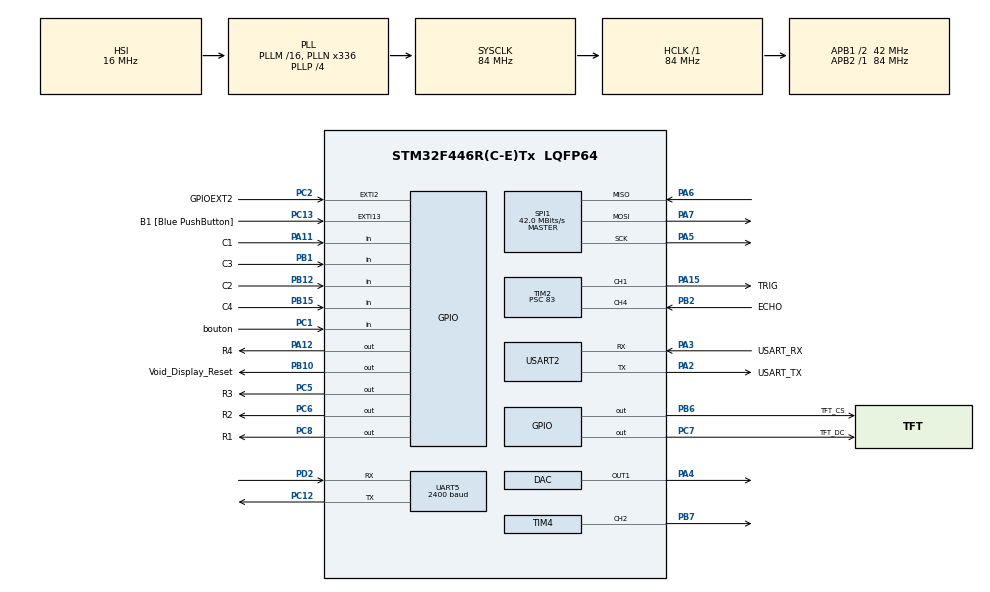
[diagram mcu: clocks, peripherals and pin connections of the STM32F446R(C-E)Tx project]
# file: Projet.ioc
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DAC.DAC_Trigger=DAC_TRIGGER_T5_TRGO
Dma.DAC1.2.Direction=DMA_MEMORY_TO_PERIPH
Dma.DAC1.2.FIFOMode=DMA_FIFOMODE_DISABLE
Dma.DAC1.2.Instance=DMA1_Stream5
Dma.DAC1.2.MemDataAlignment=DMA_MDATAALIGN_WORD
Dma.DAC1.2.MemInc=DMA_MINC_ENABLE
Dma.DAC1.2.Mode=DMA_NORMAL
Dma.DAC1.2.PeriphDataAlignment=DMA_PDATAALIGN_WORD
Dma.DAC1.2.PeriphInc=DMA_PINC_DISABLE
Dma.DAC1.2.Priority=DMA_PRIORITY_LOW
Dma.Request0=SPI1_TX
Dma.Request1=UART5_TX
Dma.Request2=DAC1
Dma.SPI1_TX.0.Direction=DMA_MEMORY_TO_PERIPH
Dma.SPI1_TX.0.FIFOMode=DMA_FIFOMODE_DISABLE
Dma.SPI1_TX.0.Instance=DMA2_Stream3
Dma.SPI1_TX.0.MemDataAlignment=DMA_MDATAALIGN_BYTE
Dma.SPI1_TX.0.MemInc=DMA_MINC_ENABLE
Dma.SPI1_TX.0.Mode=DMA_NORMAL
Dma.SPI1_TX.0.PeriphDataAlignment=DMA_PDATAALIGN_BYTE
Dma.SPI1_TX.0.PeriphInc=DMA_PINC_DISABLE
Dma.SPI1_TX.0.Priority=DMA_PRIORITY_LOW
Dma.UART5_TX.1.Direction=DMA_MEMORY_TO_PERIPH
Dma.UART5_TX.1.FIFOMode=DMA_FIFOMODE_DISABLE
Dma.UART5_TX.1.Instance=DMA1_Stream7
Dma.UART5_TX.1.MemDataAlignment=DMA_MDATAALIGN_BYTE
Dma.UART5_TX.1.MemInc=DMA_MINC_ENABLE
Dma.UART5_TX.1.Mode=DMA_NORMAL
Dma.UART5_TX.1.PeriphDataAlignment=DMA_PDATAALIGN_BYTE
Dma.UART5_TX.1.PeriphInc=DMA_PINC_DISABLE
Dma.UART5_TX.1.Priority=DMA_PRIORITY_LOW
Mcu.Family=STM32F4
Mcu.Name=STM32F446R(C-E)Tx
Mcu.Package=LQFP64
NVIC.DMA1_Stream5_IRQn=true\:0\:0\:false\:false\:true\:false\:true\:true
NVIC.DMA1_Stream7_IRQn=true\:0\:0\:false\:false\:true\:false\:true\:true
NVIC.DMA2_Stream3_IRQn=true\:0\:0\:false\:false\:true\:false\:true\:true
NVIC.EXTI2_IRQn=true\:0\:0\:false\:false\:true\:true\:true\:true
NVIC.PriorityGroup=NVIC_PRIORITYGROUP_0
NVIC.SPI1_IRQn=true\:0\:0\:false\:false\:true\:true\:true\:true
NVIC.TIM2_IRQn=true\:0\:0\:false\:false\:true\:true\:true\:true
NVIC.UART5_IRQn=true\:0\:0\:false\:false\:true\:true\:true\:true
PA11.GPIO_Label=C1
PA11.GPIO_PuPd=GPIO_PULLUP
PA11.Signal=GPIO_Input
PA12.GPIO_Label=R4
PA12.GPIO_ModeDefaultOutputPP=GPIO_MODE_OUTPUT_OD
PA12.GPIO_PuPd=GPIO_NOPULL
PA12.Signal=GPIO_Output
PA13.GPIO_Label=TMS
PA13.Mode=Serial_Wire
PA13.Signal=SYS_JTMS-SWDIO
PA14.GPIO_Label=TCK
PA14.Mode=Serial_Wire
PA14.Signal=SYS_JTCK-SWCLK
PA15.GPIO_Label=TRIG
PA15.Signal=S_TIM2_CH1_ETR
PA2.GPIO_Label=USART_TX
PA2.Mode=Asynchronous
PA2.Signal=USART2_TX
PA3.GPIO_Label=USART_RX
PA3.Mode=Asynchronous
PA3.Signal=USART2_RX
PA4.Signal=COMP_DAC1_group
PA5.Mode=Full_Duplex_Master
PA5.Signal=SPI1_SCK
PA6.Mode=Full_Duplex_Master
PA6.Signal=SPI1_MISO
PA7.Mode=Full_Duplex_Master
PA7.Signal=SPI1_MOSI
PB1.GPIO_Label=C3
PB1.GPIO_PuPd=GPIO_PULLUP
PB1.Signal=GPIO_Input
PB10.GPIO_Label=Void_Display_Reset
PB10.Signal=GPIO_Output
PB12.GPIO_Label=C2
PB12.GPIO_PuPd=GPIO_PULLUP
PB12.Signal=GPIO_Input
PB15.GPIO_Label=C4
PB15.GPIO_PuPd=GPIO_PULLUP
PB15.Signal=GPIO_Input
PB2.GPIO_Label=ECHO
PB2.Signal=S_TIM2_CH4
PB3.GPIO_Label=SWO
PB3.Signal=SYS_JTDO-SWO
PB6.GPIO_Label=TFT_CS
PB6.Signal=GPIO_Output
PB7.Signal=S_TIM4_CH2
PC1.GPIO_Label=bouton
PC1.GPIO_PuPd=GPIO_PULLDOWN
PC1.Signal=GPIO_Input
PC12.Mode=Asynchronous
PC12.Signal=UART5_TX
PC13.GPIO_Label=B1 [Blue PushButton]
PC13.GPIO_ModeDefaultEXTI=GPIO_MODE_IT_FALLING
PC13.Signal=GPXTI13
PC14-OSC32_IN.Mode=LSE-External-Oscillator
PC14-OSC32_IN.Signal=RCC_OSC32_IN
PC15-OSC32_OUT.Mode=LSE-External-Oscillator
PC15-OSC32_OUT.Signal=RCC_OSC32_OUT
PC2.GPIO_Label=GPIOEXT2
PC2.GPIO_ModeDefaultEXTI=GPIO_MODE_IT_RISING_FALLING
PC2.Signal=GPXTI2
PC5.GPIO_Label=R3
PC5.GPIO_ModeDefaultOutputPP=GPIO_MODE_OUTPUT_OD
PC5.GPIO_PuPd=GPIO_NOPULL
PC5.Signal=GPIO_Output
PC6.GPIO_Label=R2
PC6.GPIO_ModeDefaultOutputPP=GPIO_MODE_OUTPUT_OD
PC6.GPIO_PuPd=GPIO_NOPULL
PC6.Signal=GPIO_Output
PC7.GPIO_Label=TFT_DC
PC7.Signal=GPIO_Output
PC8.GPIO_Label=R1
PC8.GPIO_ModeDefaultOutputPP=GPIO_MODE_OUTPUT_OD
PC8.GPIO_PuPd=GPIO_NOPULL
PC8.Signal=GPIO_Output
PD2.Mode=Asynchronous
PD2.Signal=UART5_RX
PH0-OSC_IN.Mode=HSE-External-Oscillator
PH0-OSC_IN.Signal=RCC_OSC_IN
PH1-OSC_OUT.Mode=HSE-External-Oscillator
PH1-OSC_OUT.Signal=RCC_OSC_OUT
ProjectManager.HeapSize=0x200
ProjectManager.StackSize=0x400
ProjectManager.TargetToolchain=MDK-ARM V5.32
RCC.48MHZClocksFreq_Value=84000000
RCC.AHBFreq_Value=84000000
RCC.APB1CLKDivider=RCC_HCLK_DIV2
RCC.APB1Freq_Value=42000000
RCC.APB1TimFreq_Value=84000000
RCC.APB2Freq_Value=84000000
RCC.APB2TimFreq_Value=84000000
RCC.CortexFreq_Value=84000000
RCC.FLatency-AdvancedSettings=FLASH_LATENCY_2
RCC.HCLKFreq_Value=84000000
RCC.HSE_VALUE=8000000
RCC.HSI_VALUE=16000000
RCC.PLLN=336
RCC.PLLP=RCC_PLLP_DIV4
RCC.SYSCLKFreq_VALUE=84000000
RCC.SYSCLKSource=RCC_SYSCLKSOURCE_PLLCLK
RCC.USBFreq_Value=168000000
RCC.VCOOutputFreq_Value=336000000
SH.COMP_DAC1_group.0=DAC_OUT1,DAC_OUT1
SH.S_TIM2_CH1_ETR.0=TIM2_CH1,PWM Generation1 CH1
SH.S_TIM2_CH4.0=TIM2_CH4,Input_Capture4_from_TI4
SH.S_TIM4_CH2.0=TIM4_CH2,PWM Generation2 CH2
SPI1.BaudRatePrescaler=SPI_BAUDRATEPRESCALER_2
SPI1.CalculateBaudRate=42.0 MBits/s
SPI1.Direction=SPI_DIRECTION_2LINES
SPI1.Mode=SPI_MODE_MASTER
SPI1.VirtualType=VM_MASTER
TIM2.Channel-Input_Capture4_from_TI4=TIM_CHANNEL_4
TIM2.Channel-PWM\ Generation1\ CH1=TIM_CHANNEL_1
TIM2.ICPolarity_CH4=TIM_INPUTCHANNELPOLARITY_BOTHEDGE
TIM2.Period=199999
TIM2.Prescaler=83
TIM2.Pulse-PWM\ Generation1\ CH1=10
TIM2.TIM_MasterOutputTrigger=TIM_TRGO_UPDATE
TIM4.Channel-PWM\ Generation2\ CH2=TIM_CHANNEL_2
TIM4.Period=25
TIM4.Prescaler=83
TIM4.Pulse-PWM\ Generation2\ CH2=13
TIM5.Period=24
TIM5.Prescaler=83
TIM5.TIM_MasterOutputTrigger=TIM_TRGO_UPDATE
UART5.BaudRate=2400
UART5.VirtualMode=Asynchronous
USART2.VirtualMode=VM_ASYNC
VP_TIM12_VS_ClockSourceINT.Mode=Internal
VP_TIM1_VS_ClockSourceINT.Mode=Internal
VP_TIM2_VS_ClockSourceINT.Mode=Internal
VP_TIM4_VS_ClockSourceINT.Mode=Internal
VP_TIM5_VS_ClockSourceINT.Mode=Internal
board=NUCLEO-F446RE

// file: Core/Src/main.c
/* USER CODE BEGIN Header */
/**
  ******************************************************************************
  * @file           : main.c
  * @brief          : Main program body
  ******************************************************************************
  * @attention
  *
  * Copyright (c) 2023 STMicroelectronics.
  * All rights reserved.
  *
  * This software is licensed under terms that can be found in the LICENSE file
  * in the root directory of this software component.
  * If no LICENSE file comes with this software, it is provided AS-IS.
  *
  ******************************************************************************
  */
/* USER CODE END Header */
#include "main.h"
#include "dac.h"
#include "dma.h"
#include "spi.h"
#include "tim.h"
#include "usart.h"
#include "gpio.h"

/* USER CODE BEGIN Includes */
#include "stdio.h"
#include "stdlib.h"
#include "math.h"
#include "ili9341.h"
#include "ili9341_gfx.h"

#include "guitar.h"
/* USER CODE END Includes */

/* USER CODE BEGIN PV */
// Game
int life;
int score;
unsigned char received_data;
// Screen
extern ili9341_t *_screen;

// variables pour l'ultrason
float value1 = 0;
float value2  = 0;
int flag_captured = 0;
volatile float distanceCm = 0;
float frequence = 0;

//variable pour getFrequency et getTextNote
extern float FREQX[];
int ID_note = 0;
volatile float frequency1 = 0;
volatile float frequency2 = 0;
char* text_note = "";
volatile int value=0;

//variable pour le son sinus
#define TABLE_LENGTH 1000
uint32_t tab_valueSin1[TABLE_LENGTH];
uint32_t tab_valueSin2[TABLE_LENGTH];
uint32_t tab_value1[TABLE_LENGTH];
uint32_t tab_value2[TABLE_LENGTH];
uint32_t * current_tab = tab_value1;
int key = 0;
float t1 = 0, t2 = 0;

volatile float fselect = 0;

// Systick
volatile int frameUp = 1;
int timerFPS = 0;
float fps = 75; 	// 75ms (1 frame par 75ms)

extern volatile int nextNoteUp;
float tempoNextNote = 900;
extern volatile unsigned char voice1[];
extern volatile unsigned char voice2[];
extern volatile int current_time;
extern volatile struct Guitar guitar2;
extern volatile struct Guitar guitar;
int full_timer;
int PWM_on = 1;

// Ultrason
extern volatile float position_us;
volatile uint8_t rxdata[1];

uint8_t ID_note_received = 0;
uint8_t ID_note_sent = 0;
/* USER CODE END PV */

void SystemClock_Config(void);
/* USER CODE BEGIN PFP */

void HAL_DAC_ConvCpltCallbackCh1(DAC_HandleTypeDef* hdac) {

		if (current_tab == tab_value1){
			current_tab = tab_value2;
		} else {
			current_tab = tab_value1;
		}

	//DAC TRANSFERT
	HAL_DAC_Start_DMA(hdac, DAC_CHANNEL_1, (uint32_t *)current_tab, TABLE_LENGTH,DAC_ALIGN_12B_R);
}

/* USER CODE END PFP */

/* USER CODE BEGIN 0 */

void HAL_SYSTICK_Callback(void) {
	full_timer++;
	timerFPS++;

	if (timerFPS >= fps){
		frameUp = 1;
		timerFPS = 0;
	}
}

// partie A

void createTab1(uint32_t *tab1, float f1){
	for (int i = 0; i < TABLE_LENGTH; i++) {
			tab1[i] = 1010+1010*sin(2*3.1415*f1*((i*0.000025)+t1));
	}
	t1 += TABLE_LENGTH*0.000025;
}

void createTab2(uint32_t *tab2, float f1){
	for (int i = 0; i < TABLE_LENGTH; i++) {
			tab2[i] = 1010+1010*sin(2*3.1415*f1*((i*0.000025)+t2));
	}
	t2 += TABLE_LENGTH*0.000025;
}

void createDuoTab(uint32_t *tab1,uint32_t *tab2,uint32_t *tab3){
	for (int i = 0; i < TABLE_LENGTH; i++) {
		tab3[i]=tab1[i]+tab2[i];
	}
}

int getIdNote(float distance) {
  if (0 <= distance && distance <= 4) {
    return NOTE_B3;
  } else if (distance > 4 && distance <= 8) {
    return NOTE_C4;
  } else if (distance > 8 && distance <= 12) {
    return NOTE_D4;
  } else if (distance > 12 && distance <= 16) {
    return NOTE_D4_SHARP;
  } else if (distance > 16 && distance <= 20) {
    return NOTE_E4;
  } else if (distance > 20 && distance <= 24) {
    return NOTE_F4_SHARP;
  } else if (distance > 24 && distance <= 28) {
    return NOTE_G4;
  } else if (distance > 28 && distance <= 32) {
    return NOTE_A4;
  } else if (distance > 32 && distance <= 36) {
    return NOTE_B4;
  } else if (distance > 36 && distance <= 40) {
    return NOTE_C5;
  } else if (distance > 40 && distance <= 44) {
    return NOTE_D5;
  } else if (distance > 44 && distance <= 48) {
    return NOTE_D5_SHARP;
  } else if (distance > 48 && distance <= 52) {
    return NOTE_E5;
  } else if (distance > 52 && distance <= 56) {
    return NOTE_F5_SHARP;
  } else if (distance > 56 && distance <= 60) {
    return NOTE_G5;
  } else {
    return SILENCE;
  }
}

float getFrequency(int index){
	return FREQX[index];
}

char* getTextNote(int index){
	switch(index){
		case NOTE_B3 :
			return "B3     ";
			break;
		case NOTE_C4 :
			return "C4     ";
			break;
		case NOTE_D4 :
			return "D4     ";
			break;
		case NOTE_D4_SHARP :
			return "D4#    ";
			break;
		case NOTE_E4 :
			return "E4     ";
			break;
		case NOTE_F4_SHARP :
			return "F4#    ";
			break;
		case NOTE_G4 :
			return "G4     ";
			break;
		case NOTE_A4 :
			return "A4     ";
			break;
		case NOTE_B4 :
			return "B4     ";
			break;
		case NOTE_C5 :
			return "C5     ";
			break;
		case NOTE_D5 :
			return "D5     ";
			break;
		case NOTE_D5_SHARP :
			return "D5#    ";
			break;
		case NOTE_E5 :
			return "E5     ";
			break;
		case NOTE_F5_SHARP :
			return "F5#    ";
			break;
		case NOTE_G5 :
			return "G5     ";
			break;
		default :
			return "SILENCE";
			break;
	}
}

// Méthode appelée lorsque front montant ou descendant est détectée
void HAL_TIM_IC_CaptureCallback(TIM_HandleTypeDef *htim) {
	if (htim->Channel == HAL_TIM_ACTIVE_CHANNEL_4){  // on s'assure que le channel du timer est celui du Input capture (channel4)
	 // Lors d'un front montant, on a rien détecté
	 if(flag_captured == 0){
		 value1 = TIM2->CCR4;
		 flag_captured = 1; // on a effectué une capture
	 }
	 else {
		 value2 = TIM2->CCR4;
		 distanceCm = fabs(value2 - value1)/(58.82);
		 flag_captured = 0;

	//	 fselect = getFrequency(distanceCm);

		 ID_note = getIdNote(distanceCm); // recupere le id note
		frequency1 = getFrequency(ID_note); // recupere la frequence avec le id note
	 }
 }
}
void HAL_GPIO_EXTI_Callback(uint16_t GPIO_Pin){

		if(GPIO_Pin == GPIOEXT2_Pin){
		//UTILISER PLUTOT READPIN
		if (HAL_GPIO_ReadPin(GPIOEXT2_GPIO_Port, GPIOEXT2_Pin) == GPIO_PIN_SET) {
			HAL_TIM_PWM_Stop(&htim4, TIM_CHANNEL_2);
		}
		else if (HAL_GPIO_ReadPin(GPIOEXT2_GPIO_Port, GPIOEXT2_Pin) == GPIO_PIN_RESET) {
	//		f1=0;
	//		send(f1);
			HAL_TIM_PWM_Start(&htim4, TIM_CHANNEL_2);
		}
	}

	if(GPIO_Pin == C1_Pin){
			if(HAL_GPIO_ReadPin(C1_GPIO_Port, C1_Pin) == GPIO_PIN_SET){
				ID_note_sent = ID_note;
				HAL_UART_Transmit_DMA(&huart5, &ID_note_sent, sizeof(ID_note_sent));
			} else {
				//ID_note = SILENCE;
				frequency1 = getFrequency(SILENCE);
				ID_note_sent = SILENCE;
				HAL_UART_Transmit_DMA(&huart5, &ID_note_sent, sizeof(ID_note_sent));
			}
	}
}
void HAL_UART_RxCpltCallback(UART_HandleTypeDef *huart)
{
	//	uart_rx();
    HAL_UART_Receive_IT(&huart5, rxdata, 1); // warning dans la conversion de type
		ID_note_received=rxdata[0];
		frequency2 = getFrequency(ID_note_received);
}
//f2 provient du Rx: Recevoir
//void uart_rx(UART_HandleTypeDef *huart, uint8_t *rxdata, uint8_t size)
//{
//    HAL_UART_Receive_IT(huart, rxdata, size);//uint8_t = val_rx
//		ID_note_received=rxdata[0];
//		frequency2 = getFrequency(ID_note_received); // recupere la frequence avec le id note
//
//}

#ifndef __GNUC__
#define PUTCHAR_PROTOTYPE int __io_putchar(int ch)
#else
#define PUTCHAR_PROTOTYPE int fputc(int ch, FILE *f)
#endif /* __GNUC__ */

/* USER CODE END 0 */

int main(void)
{

  /* MCU Configuration--------------------------------------------------------*/

  /* Reset of all peripherals, Initializes the Flash interface and the Systick. */
  HAL_Init();

  /* Configure the system clock */
  SystemClock_Config();

  /* Initialize all configured peripherals */
  MX_GPIO_Init();
  MX_DMA_Init();
  MX_USART2_UART_Init();
  MX_SPI1_Init();
  MX_TIM1_Init();
  MX_TIM12_Init();
  MX_UART5_Init();
  MX_TIM4_Init();
  MX_DAC_Init();
  MX_TIM2_Init();
  MX_TIM5_Init();
  /* USER CODE BEGIN 2 */

	// Screen
	_screen = ili9341_new(
		&hspi1,
		Void_Display_Reset_GPIO_Port, Void_Display_Reset_Pin,
		TFT_CS_GPIO_Port, TFT_CS_Pin,
		TFT_DC_GPIO_Port, TFT_DC_Pin,
		isoLandscape,
		NULL,  NULL,
		NULL, NULL,
		itsNotSupported,
		itnNormalized);

		ili9341_fill_screen(_screen, ILI9341_BLACK);
		ili9341_text_attr_t text_attr = {&ili9341_font_11x18,ILI9341_WHITE, ILI9341_BLACK,0,0};

		// start receiving data
		HAL_UART_Receive_IT(&huart5, rxdata, 1); // warning dans la conversion de type

		unsigned char a = 0;
	// start timer part A
	HAL_TIM_Base_Start_IT(&htim2);
	HAL_TIM_PWM_Start(&htim2,TIM_CHANNEL_1);
	HAL_TIM_IC_Start_IT(&htim2,TIM_CHANNEL_4);
	// timer partie A 2e semaine
	HAL_TIM_Base_Start(&htim5);
	HAL_DAC_Start_DMA(&hdac, DAC_CHANNEL_1, (uint32_t *)current_tab, TABLE_LENGTH,DAC_ALIGN_12B_R);

	// DÉMARRER LE TIMER 4
	HAL_TIM_Base_Start(&htim4);
	// clavier
	HAL_GPIO_WritePin(R1_GPIO_Port, R1_Pin, GPIO_PIN_SET); // rangée 1,4,7,*
  /* USER CODE END 2 */

  /* Infinite loop */
  while (1)
  {

    /* USER CODE BEGIN 3 */
		initGame();
		el_condor();

		while(life && (full_timer < 22000)) {
			while(!frameUp) {									// 75 ms
//				ID_note = getIdNote(distanceCm);
				text_note = getTextNote(ID_note);
//				frequence = getFrequency(ID_note);
				char buf[80];
				sprintf(buf,"Note: %s", text_note);
				ili9341_draw_string(_screen, text_attr, buf);

				createTab1(tab_valueSin1, frequency1);
				createTab2(tab_valueSin2, frequency2);
				if(current_tab == tab_value1){
					createDuoTab(tab_valueSin1,tab_valueSin2, tab_value1);
				} else {
					createDuoTab(tab_valueSin1,tab_valueSin2, tab_value2);
				}

				//display_guitar(position_us) ;
			}
			frameUp = 0;
			next_state();

			// a = guitar.note; // note a jouer selon el condor (partie B)
			a = ID_note;
			HAL_UART_Transmit_DMA(&huart5, &a, sizeof(a)); // Transmits from IR LED

			display_guitar2(rxdata[0]); // Draw 2nd player circle in blue

			display_score(); // Affichage note a jouer par le joueur

			display_guitar(ID_note); // Display 1st player circle in green

			liveScore();
		}
		gameOver();
  }
  /* USER CODE END 3 */
}

void SystemClock_Config(void)
{
  RCC_OscInitTypeDef RCC_OscInitStruct = {0};
  RCC_ClkInitTypeDef RCC_ClkInitStruct = {0};

  /** Configure the main internal regulator output voltage
  */
  __HAL_RCC_PWR_CLK_ENABLE();
  __HAL_PWR_VOLTAGESCALING_CONFIG(PWR_REGULATOR_VOLTAGE_SCALE3);

  /** Initializes the RCC Oscillators according to the specified parameters
  * in the RCC_OscInitTypeDef structure.
  */
  RCC_OscInitStruct.OscillatorType = RCC_OSCILLATORTYPE_HSI;
  RCC_OscInitStruct.HSIState = RCC_HSI_ON;
  RCC_OscInitStruct.HSICalibrationValue = RCC_HSICALIBRATION_DEFAULT;
  RCC_OscInitStruct.PLL.PLLState = RCC_PLL_ON;
  RCC_OscInitStruct.PLL.PLLSource = RCC_PLLSOURCE_HSI;
  RCC_OscInitStruct.PLL.PLLM = 16;
  RCC_OscInitStruct.PLL.PLLN = 336;
  RCC_OscInitStruct.PLL.PLLP = RCC_PLLP_DIV4;
  RCC_OscInitStruct.PLL.PLLQ = 2;
  RCC_OscInitStruct.PLL.PLLR = 2;
  if (HAL_RCC_OscConfig(&RCC_OscInitStruct) != HAL_OK)
  {
    Error_Handler();
  }

  /** Initializes the CPU, AHB and APB buses clocks
  */
  RCC_ClkInitStruct.ClockType = RCC_CLOCKTYPE_HCLK|RCC_CLOCKTYPE_SYSCLK
                              |RCC_CLOCKTYPE_PCLK1|RCC_CLOCKTYPE_PCLK2;
  RCC_ClkInitStruct.SYSCLKSource = RCC_SYSCLKSOURCE_PLLCLK;
  RCC_ClkInitStruct.AHBCLKDivider = RCC_SYSCLK_DIV1;
  RCC_ClkInitStruct.APB1CLKDivider = RCC_HCLK_DIV2;
  RCC_ClkInitStruct.APB2CLKDivider = RCC_HCLK_DIV1;

  if (HAL_RCC_ClockConfig(&RCC_ClkInitStruct, FLASH_LATENCY_2) != HAL_OK)
  {
    Error_Handler();
  }
}

/* USER CODE BEGIN 4 */
// to use putty
/**
	* @brief Retargets the C library printf function to the USART.
	* @param None
	* @retval None
	*/
	PUTCHAR_PROTOTYPE
	{
	/* Place your implementation of fputc here */
	/* e.g. write a character to the USART2 and Loop until the end
	of transmission */
	HAL_UART_Transmit(&huart2, (uint8_t *)&ch, 1, 0xFFFF);
	return ch;
	}

/* USER CODE END 4 */

void Error_Handler(void)
{
  __disable_irq();
  while (1)
  {
  }
}
